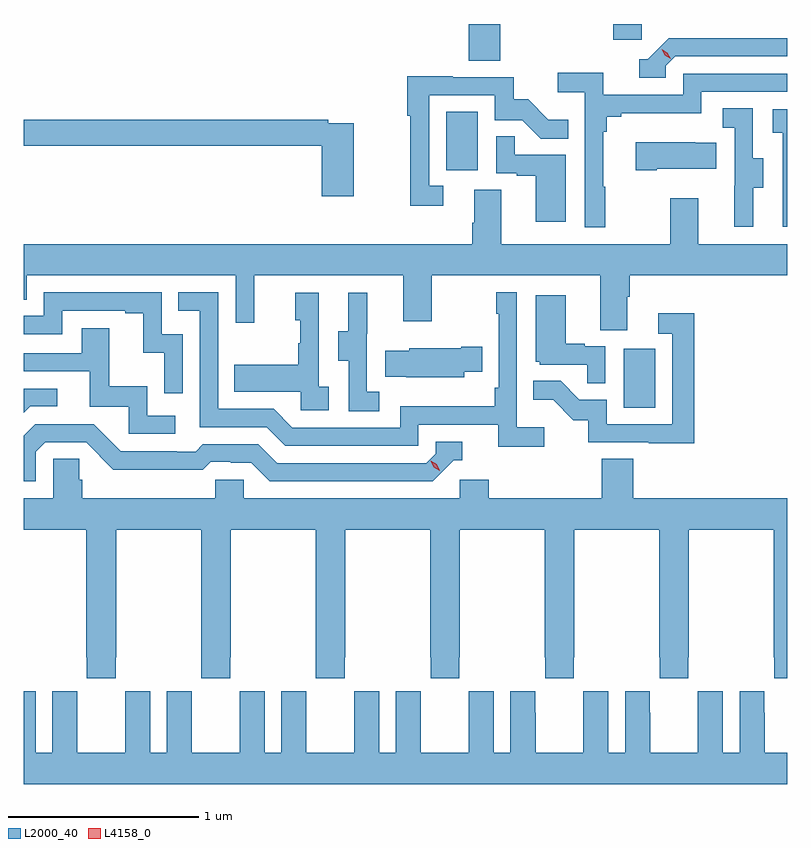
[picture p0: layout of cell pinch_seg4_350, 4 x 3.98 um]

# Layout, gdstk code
import gdstk
lib = gdstk.Library(unit=1e-6, precision=1e-09)
def R(c, l, rs):  # rectangles x0, y0, x1, y1
    for r in rs: c.add(gdstk.rectangle(r[:2], r[2:], *l))
def P(c, l, *ps):  # polygons
    for p in ps: c.add(gdstk.Polygon(p, *l))
L2000_40 = (2000, 40)
L4158_0 = (4158, 0)

pinch_seg4_350 = lib.new_cell('pinch_seg4_350')
R(pinch_seg4_350, L2000_40, [(987.206,805.452,987.37,805.759), (986.276,806.694,986.44,807.001), (986.393,807.268,986.558,807.461), (987.149,807.378,987.3,807.461)])
P(pinch_seg4_350, L2000_40, [(987.426,807.243),(987.474,807.291),(988.062,807.291),(988.062,807.387),(987.441,807.387),(987.33,807.276),(987.287,807.276),(987.287,807.18),(987.426,807.18)],
  [(987.109,806.609),(987.097,806.609),(987.097,806.897),(987.116,806.897),(987.116,806.974),(987.193,806.974),(987.193,806.993),(987.612,806.993),(987.612,807.105),(988.062,807.105),(988.062,807.201),(987.516,807.201),(987.516,807.09),(987.098,807.09),(987.098,807.206),(986.859,807.206),(986.859,807.104),(987,807.104),(987,806.397),(987.109,806.397)],
  [(986.26,806.613),(986.187,806.613),(986.187,807.087),(986.529,807.087),(986.529,806.958),(986.673,806.958),(986.771,806.86),(986.915,806.86),(986.915,806.959),(986.811,806.959),(986.704,807.066),(986.628,807.066),(986.628,807.183),(986.309,807.183),(986.309,807.188),(986.071,807.188),(986.071,806.98),(986.086,806.98),(986.086,806.508),(986.26,806.508)],
  [(987.883,806.602),(987.937,806.602),(987.937,806.757),(987.882,806.757),(987.882,807.02),(987.723,807.02),(987.723,806.917),(987.786,806.917),(987.786,806.613),(987.785,806.613),(987.785,806.4),(987.883,806.4)],
  [(988.062,807.015),(987.987,807.015),(987.987,806.891),(988.038,806.891),(988.038,806.4),(988.062,806.4)],
  [(985.792,806.94),(985.658,806.94),(985.658,806.96),(984.062,806.96),(984.062,806.824),(985.622,806.824),(985.622,806.559),(985.792,806.559)],
  [(986.902,806.775),(986.633,806.775),(986.633,806.873),(986.538,806.873),(986.538,806.679),(986.645,806.679),(986.645,806.667),(986.744,806.667),(986.744,806.424),(986.902,806.424)],
  [(987.379,806.702),(987.689,806.702),(987.689,806.839),(987.581,806.839),(987.581,806.842),(987.267,806.842),(987.267,806.695),(987.379,806.695)],
  [(987.223,806.032),(987.236,806.032),(987.236,806.144),(988.062,806.144),(988.062,806.308),(987.595,806.308),(987.595,806.548),(987.448,806.548),(987.448,806.308),(986.563,806.308),(986.563,806.594),(986.423,806.594),(986.423,806.42),(986.411,806.42),(986.411,806.308),(984.062,806.308),(984.062,806.017),(984.078,806.017),(984.078,806.144),(985.173,806.144),(985.173,805.896),(985.271,805.896),(985.271,806.144),(986.051,806.144),(986.051,805.905),(986.199,805.905),(986.199,806.144),(987.083,806.144),(987.083,805.858),(987.223,805.858)],
  [(986.788,805.348),(986.646,805.348),(986.646,806.056),(986.538,806.056),(986.538,805.943),(986.55,805.943),(986.55,805.555),(986.53,805.555),(986.53,805.459),(986.034,805.459),(986.034,805.347),(985.47,805.347),(985.371,805.446),(985.08,805.446),(985.08,806.055),(984.871,806.055),(984.871,805.959),(984.984,805.959),(984.984,805.35),(985.334,805.35),(985.433,805.251),(986.13,805.251),(986.13,805.362),(986.549,805.362),(986.549,805.246),(986.788,805.246)],
  [(984.894,805.836),(984.786,805.836),(984.786,806.055),(984.168,806.055),(984.168,805.932),(984.062,805.932),(984.062,805.836),(984.264,805.836),(984.264,805.959),(984.593,805.959),(984.593,805.947),(984.689,805.947),(984.689,805.739),(984.798,805.739),(984.798,805.527),(984.894,805.527)],
  [(985.66,805.562),(985.608,805.562),(985.608,806.053),(985.484,806.053),(985.484,805.908),(985.51,805.908),(985.51,805.79),(985.5,805.79),(985.5,805.675),(985.165,805.675),(985.165,805.535),(985.512,805.535),(985.512,805.437),(985.66,805.437)],
  [(985.924,805.535),(985.86,805.535),(985.86,805.839),(985.862,805.839),(985.862,806.053),(985.763,806.053),(985.763,805.851),(985.709,805.851),(985.709,805.696),(985.764,805.696),(985.764,805.432),(985.924,805.432)],
  [(987.108,805.773),(987.002,805.773),(987.002,805.786),(986.902,805.786),(986.902,806.041),(986.744,806.041),(986.744,805.692),(986.766,805.692),(986.766,805.677),(987.013,805.677),(987.013,805.579),(987.108,805.579)],
  [(987.575,805.945),(987.387,805.945),(987.387,805.839),(987.459,805.839),(987.459,805.365),(987.117,805.365),(987.117,805.494),(986.973,805.494),(986.875,805.592),(986.731,805.592),(986.731,805.493),(986.835,805.493),(986.942,805.386),(987.019,805.386),(987.019,805.269),(987.337,805.269),(987.337,805.264),(987.575,805.264)],
  [(984.856,805.41),(984.708,805.41),(984.708,805.564),(984.509,805.564),(984.509,805.867),(984.365,805.867),(984.365,805.737),(984.062,805.737),(984.062,805.641),(984.407,805.641),(984.407,805.455),(984.612,805.455),(984.612,805.314),(984.856,805.314)],
  [(986.371,805.64),(986.465,805.64),(986.465,805.77),(986.354,805.77),(986.354,805.762),(986.082,805.762),(986.082,805.75),(985.957,805.75),(985.957,805.613),(986.065,805.613),(986.065,805.61),(986.371,805.61)],
  [(984.096,805.458),(984.238,805.458),(984.238,805.551),(984.062,805.551),(984.062,805.424)],
  [(984.126,805.221),(984.174,805.269),(984.39,805.269),(984.532,805.127),(984.768,805.127),(984.768,805.125),(985.001,805.125),(985.043,805.167),(985.146,805.167),(985.146,805.164),(985.253,805.164),(985.352,805.065),(986.205,805.065),(986.316,805.176),(986.359,805.176),(986.359,805.272),(986.22,805.272),(986.22,805.209),(986.172,805.161),(985.389,805.161),(985.29,805.26),(985.001,805.26),(984.962,805.221),(984.863,805.221),(984.863,805.224),(984.57,805.224),(984.429,805.365),(984.123,805.365),(984.062,805.304),(984.062,805.065),(984.126,805.065)],
  [(984.543,804.145),(984.546,804.145),(984.546,804.812),(984.991,804.812),(984.991,804.145),(984.993,804.145),(984.993,804.033),(985.143,804.033),(985.143,804.145),(985.146,804.145),(985.146,804.812),(985.591,804.812),(985.591,804.145),(985.593,804.145),(985.593,804.033),(985.743,804.033),(985.743,804.145),(985.746,804.145),(985.746,804.812),(986.191,804.812),(986.191,804.145),(986.193,804.145),(986.193,804.033),(986.343,804.033),(986.343,804.145),(986.346,804.145),(986.346,804.812),(986.791,804.812),(986.791,804.145),(986.793,804.145),(986.793,804.033),(986.943,804.033),(986.943,804.145),(986.946,804.145),(986.946,804.812),(987.391,804.812),(987.391,804.145),(987.393,804.145),(987.393,804.033),(987.543,804.033),(987.543,804.145),(987.546,804.145),(987.546,804.812),(987.991,804.812),(987.991,804.145),(987.993,804.145),(987.993,804.033),(988.062,804.033),(988.062,804.976),(987.254,804.976),(987.254,805.184),(987.089,805.184),(987.089,804.976),(986.498,804.976),(986.498,805.074),(986.346,805.074),(986.346,804.976),(985.215,804.976),(985.215,805.074),(985.065,805.074),(985.065,804.976),(984.368,804.976),(984.368,805.074),(984.353,805.074),(984.353,805.184),(984.216,805.184),(984.216,804.976),(984.062,804.976),(984.062,804.812),(984.391,804.812),(984.391,804.145),(984.393,804.145),(984.393,804.033),(984.543,804.033)],
  [(988.062,803.644),(987.943,803.644),(987.943,803.852),(987.942,803.852),(987.942,803.965),(987.812,803.965),(987.812,803.644),(987.724,803.644),(987.724,803.965),(987.594,803.965),(987.594,803.852),(987.593,803.852),(987.593,803.644),(987.343,803.644),(987.343,803.852),(987.342,803.852),(987.342,803.965),(987.212,803.965),(987.212,803.644),(987.124,803.644),(987.124,803.965),(986.994,803.965),(986.994,803.852),(986.993,803.852),(986.993,803.644),(986.743,803.644),(986.743,803.852),(986.742,803.852),(986.742,803.965),(986.612,803.965),(986.612,803.644),(986.524,803.644),(986.524,803.965),(986.394,803.965),(986.394,803.852),(986.393,803.852),(986.393,803.644),(986.143,803.644),(986.143,803.852),(986.142,803.852),(986.142,803.965),(986.012,803.965),(986.012,803.644),(985.924,803.644),(985.924,803.965),(985.794,803.965),(985.794,803.852),(985.793,803.852),(985.793,803.644),(985.543,803.644),(985.543,803.852),(985.542,803.852),(985.542,803.965),(985.412,803.965),(985.412,803.644),(985.324,803.644),(985.324,803.965),(985.194,803.965),(985.194,803.852),(985.193,803.852),(985.193,803.644),(984.943,803.644),(984.943,803.852),(984.942,803.852),(984.942,803.965),(984.812,803.965),(984.812,803.644),(984.724,803.644),(984.724,803.965),(984.594,803.965),(984.594,803.852),(984.593,803.852),(984.593,803.644),(984.343,803.644),(984.343,803.852),(984.342,803.852),(984.342,803.965),(984.212,803.965),(984.212,803.644),(984.124,803.644),(984.124,803.965),(984.062,803.965),(984.062,803.48),(988.062,803.48)])
P(pinch_seg4_350, L4158_0, [(987.451,807.278),(987.42,807.297),(987.403,807.329),(987.403,807.329),(987.403,807.329),(987.434,807.31),(987.451,807.278),(987.451,807.278)],
  [(986.241,805.122),(986.21,805.14),(986.194,805.173),(986.194,805.173),(986.195,805.173),(986.225,805.154),(986.242,805.122),(986.242,805.122)])

lib.write_gds('pinch_seg4_350.gds')
